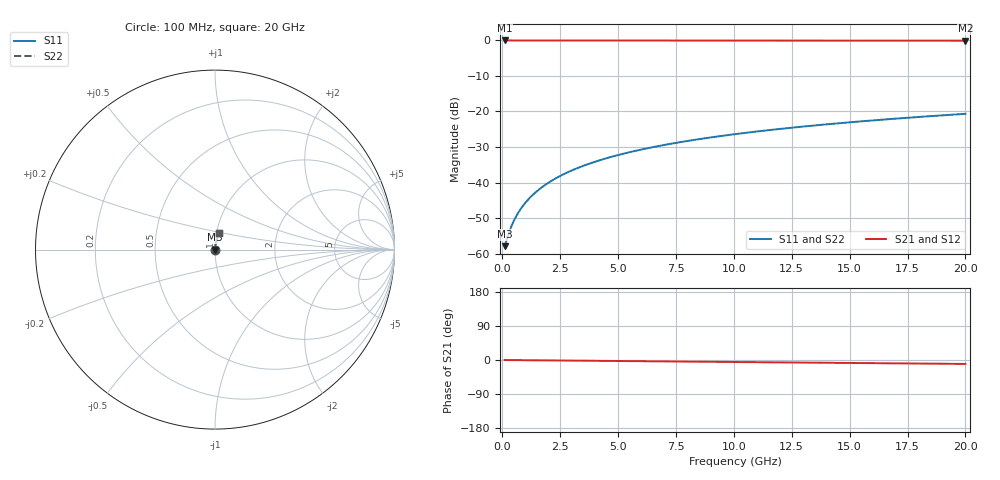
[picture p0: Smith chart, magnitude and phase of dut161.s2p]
! Touchstone file exported from HFSS 2026.1.0
!  File:  C:/ffzhzh/LocalFiles/Ansys_Project_Files/temp_train_BSMRDL_161_1782986806_6248.aedt
!  Generated:  06:08:02 PM Jul  2, 2026
!  Design:  BSMRDL
!  Project:  temp_train_BSMRDL_161_1782986806_6248
! Variables:
!  h_bsmrdl = 3.53um
!  h_ox = 20um
!  h_rdl = 5um
!  h_sub = 80um
!  h_tmrdl = 5um
!  h_tsv = 80um
!  h_via = 3um
!  l_bsmrdl = 140.32um
!  l_sub = 540.32um
!  l_tmrdl = 200um
!  m_sub = 200um
!  pitch = 28.64um
!  r_tsv = 6um
!  s_tmrdl = 10um
!  w_bsmrdl = 14.62um
!  w_sub = 500um
!  w_tmrdl = 12um
!  x_tsv_center1 = 206um
!  x_tsv_center2 = 360.94um
!  x_tsv_center3 = 572.94um
!  x_tsv_center4 = 727.88um
!  x_tsv_center5 = 939.88um
!  x_tsv_center6 = 1094.82um
# GHz S MA R 50.000000
! Terminal data exported
! Port[1] = BSM_RDL1_1_T1
! Port[2] = BSM_RDL1_1_T2
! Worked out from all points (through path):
!   200 points, 100 MHz to 20 GHz, reference 50 ohm
!   highest |S21| = -0.01 dB at 100 MHz (marker M1); lowest = -0.1 dB at 20 GHz (marker M2)
!   group delay of S21, straight-line fit = 1.44 ps
!   lowest |S11| = -57.9 dB at 100 MHz (marker M3), VSWR 1.00, Z = 50.1 + j0.055 ohm
!   |S11| at or under -10 dB: start of sweep to end of sweep
!   |S22| runs from -57.9 to -20.7 dB; largest |S21 - S12| = 4.7e-15
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0.1  0.001274 25.5  0.9989 -0.1  0.9989 -0.1  0.001274 25.5
! Gamma 0 0 0 0
! Port Impedance 50 0 50 0
0.3  0.002017 52.6  0.9988 -0.2  0.9988 -0.2  0.002017 52.6
0.4  0.002456 58.9  0.9987 -0.2  0.9987 -0.2  0.002456 58.9
0.5  0.002906 63.2  0.9987 -0.3  0.9987 -0.3  0.002906 63.2
0.6  0.00336 66.5  0.9987 -0.3  0.9987 -0.3  0.00336 66.5
0.7  0.003818 68.9  0.9986 -0.4  0.9986 -0.4  0.003818 68.9
0.9  0.004745 72.5  0.9986 -0.5  0.9986 -0.5  0.004745 72.5
1.2  0.006156 76.0  0.9986 -0.6  0.9986 -0.6  0.006156 76.0
1.4  0.007106 77.5  0.9985 -0.8  0.9985 -0.8  0.007106 77.5
1.7  0.008541 79.1  0.9985 -0.9  0.9985 -0.9  0.008541 79.1
2.2  0.01095 80.7  0.9984 -1.2  0.9984 -1.2  0.01095 80.7
2.8  0.01384 81.8  0.9983 -1.5  0.9983 -1.5  0.01384 81.8
3.5  0.01721 82.4  0.9981 -1.9  0.9981 -1.9  0.01721 82.4
4.2  0.02057 82.6  0.9979 -2.2  0.9979 -2.2  0.02057 82.6
5  0.02439 82.7  0.9977 -2.7  0.9977 -2.7  0.02439 82.7
5.9  0.02866 82.5  0.9974 -3.1  0.9974 -3.1  0.02866 82.5
6.8  0.0329 82.3  0.9971 -3.6  0.9971 -3.6  0.0329 82.3
8.3  0.03991 81.8  0.9965 -4.4  0.9965 -4.4  0.03991 81.8
10.1  0.04822 81.1  0.9958 -5.3  0.9958 -5.3  0.04822 81.1
13.4  0.06324 79.7  0.9944 -7.0  0.9944 -7.0  0.06324 79.7
16.7  0.07806 78.3  0.9929 -8.7  0.9929 -8.7  0.07806 78.3
20  0.0927 76.8  0.9912 -10.4  0.9912 -10.4  0.0927 76.8
